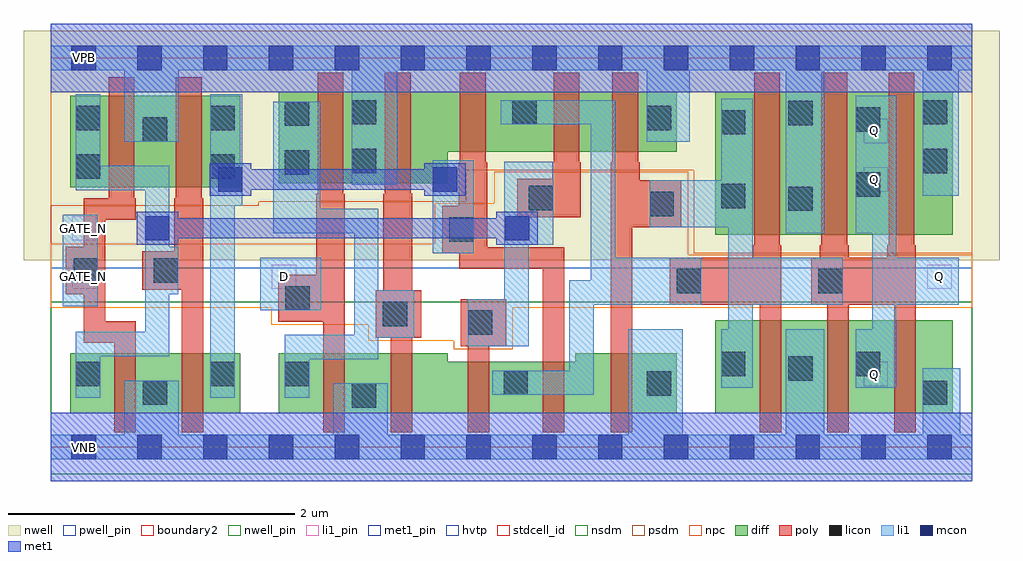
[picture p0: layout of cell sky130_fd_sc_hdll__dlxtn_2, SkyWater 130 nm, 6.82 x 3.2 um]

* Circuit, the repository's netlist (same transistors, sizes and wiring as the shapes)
* Copyright 2020 The SkyWater PDK Authors
*
* Licensed under the Apache License, Version 2.0 (the "License");
* you may not use this file except in compliance with the License.
* You may obtain a copy of the License at
*
*     https://www.apache.org/licenses/LICENSE-2.0
*
* Unless required by applicable law or agreed to in writing, software
* distributed under the License is distributed on an "AS IS" BASIS,
* WITHOUT WARRANTIES OR CONDITIONS OF ANY KIND, either express or implied.
* See the License for the specific language governing permissions and
* limitations under the License.
*
* SPDX-License-Identifier: Apache-2.0

.SUBCKT sky130_fd_sc_hdll__dlxtn_2 D GATE_N VGND VNB VPB VPWR Q
*.PININFO D:I GATE_N:I VGND:I VNB:I VPB:I VPWR:I Q:O
MI635 clkneg clkpos VPWR VPB sky130_fd_pr__pfet_01v8_hvt m=1 w=0.64U l=0.18U mult=1
+ sa=0.265 sb=0.265 sd=0.28 area=0.063 perim=1.14
MI17 M0 clkneg net51 VPB sky130_fd_pr__pfet_01v8_hvt m=1 w=0.42U l=0.18U mult=1
+ sa=0.265 sb=0.265 sd=0.28 area=0.063 perim=1.14
MI650 Q m1 VPWR VPB sky130_fd_pr__pfet_01v8_hvt m=2 w=1.0U l=0.18U mult=1 sa=0.265
+ sb=0.265 sd=0.28 area=0.063 perim=1.14
MI633 clkpos GATE_N VPWR VPB sky130_fd_pr__pfet_01v8_hvt m=1 w=0.64U l=0.18U mult=1
+ sa=0.265 sb=0.265 sd=0.28 area=0.063 perim=1.14
MI18 net51 db VPWR VPB sky130_fd_pr__pfet_01v8_hvt m=1 w=0.64U l=0.18U mult=1 sa=0.265
+ sb=0.265 sd=0.28 area=0.063 perim=1.14
MI653 net47 m1 VPWR VPB sky130_fd_pr__pfet_01v8_hvt m=1 w=0.42U l=0.18U mult=1
+ sa=0.265 sb=0.265 sd=0.28 area=0.063 perim=1.14
MI651 M0 clkpos net47 VPB sky130_fd_pr__pfet_01v8_hvt m=1 w=0.42U l=0.18U mult=1
+ sa=0.265 sb=0.265 sd=0.28 area=0.063 perim=1.14
MI655 m1 M0 VPWR VPB sky130_fd_pr__pfet_01v8_hvt m=1 w=1.0U l=0.18U mult=1 sa=0.265
+ sb=0.265 sd=0.28 area=0.063 perim=1.14
MI638 db D VPWR VPB sky130_fd_pr__pfet_01v8_hvt m=1 w=0.64U l=0.18U mult=1 sa=0.265
+ sb=0.265 sd=0.28 area=0.063 perim=1.14
MI634 clkpos GATE_N VGND VNB sky130_fd_pr__nfet_01v8 m=1 w=0.42U l=0.15U mult=1
+ sa=0.265 sb=0.265 sd=0.28 area=0.063 perim=1.14
MI649 Q m1 VGND VNB sky130_fd_pr__nfet_01v8 m=2 w=0.65U l=0.15U mult=1 sa=0.265
+ sb=0.265 sd=0.28 area=0.063 perim=1.14
MI652 M0 clkneg net94 VNB sky130_fd_pr__nfet_01v8 m=1 w=0.36U l=0.15U mult=1 sa=0.265
+ sb=0.265 sd=0.28 area=0.063 perim=1.14
MI654 net94 m1 VGND VNB sky130_fd_pr__nfet_01v8 m=1 w=0.42U l=0.15U mult=1 sa=0.265
+ sb=0.265 sd=0.28 area=0.063 perim=1.14
MI656 m1 M0 VGND VNB sky130_fd_pr__nfet_01v8 m=1 w=0.65U l=0.15U mult=1 sa=0.265
+ sb=0.265 sd=0.28 area=0.063 perim=1.14
MI636 clkneg clkpos VGND VNB sky130_fd_pr__nfet_01v8 m=1 w=0.42U l=0.15U mult=1
+ sa=0.265 sb=0.265 sd=0.28 area=0.063 perim=1.14
MI637 db D VGND VNB sky130_fd_pr__nfet_01v8 m=1 w=0.42U l=0.15U mult=1 sa=0.265
+ sb=0.265 sd=0.28 area=0.063 perim=1.14
MI19 M0 clkpos net74 VNB sky130_fd_pr__nfet_01v8 m=1 w=0.36U l=0.15U mult=1 sa=0.265
+ sb=0.265 sd=0.28 area=0.063 perim=1.14
MI20 net74 db VGND VNB sky130_fd_pr__nfet_01v8 m=1 w=0.42U l=0.15U mult=1 sa=0.265
+ sb=0.265 sd=0.28 area=0.063 perim=1.14
.ENDS sky130_fd_sc_hdll__dlxtn_2

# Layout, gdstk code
import gdstk
lib = gdstk.Library(unit=1e-6, precision=1e-09)
def R(c, l, rs):  # rectangles x0, y0, x1, y1
    for r in rs: c.add(gdstk.rectangle(r[:2], r[2:], *l))
def A(c, l, x, y, w, h, nx, ny, dx, dy):  # array of equal rectangles
    R(c, l, [(x+i*dx, y+j*dy, x+i*dx+w, y+j*dy+h) for i in range(nx) for j in range(ny)])
def P(c, l, *ps):  # polygons
    for p in ps: c.add(gdstk.Polygon(p, *l))
nwell_pin = (64, 16)
nwell = (64, 20)
diff = (65, 20)
poly = (66, 20)
licon = (66, 44)
li1_pin = (67, 16)
li1 = (67, 20)
mcon = (67, 44)
met1_pin = (68, 16)
met1 = (68, 20)
hvtp = (78, 44)
stdcell_id = (81, 4)
nsdm = (93, 44)
psdm = (94, 20)
npc = (95, 20)
pwell_pin = (122, 16)
boundary2 = (236, 0)

sky130_fd_sc_hdll__dlxtn = lib.new_cell('sky130_fd_sc_hdll__dlxtn_2')
R(sky130_fd_sc_hdll__dlxtn, nwell_pin, [(0.15,2.635,0.32,2.805)])
R(sky130_fd_sc_hdll__dlxtn, nwell, [(-0.19,1.305,6.63,2.91)])
R(sky130_fd_sc_hdll__dlxtn, diff, [(0.135,0.235,1.325,0.655), (4.645,0.235,6.305,0.885), (4.645,1.485,6.305,2.485), (0.135,1.815,1.325,2.455)])
P(sky130_fd_sc_hdll__dlxtn, diff, [(4.375,0.655),(3.665,0.655),(3.665,0.595),(2.775,0.595),(2.775,0.655),(1.595,0.655),(1.595,0.235),(4.375,0.235)],
  [(4.375,2.485),(1.595,2.485),(1.595,1.845),(2.775,1.845),(2.775,2.065),(4.375,2.065)])
P(sky130_fd_sc_hdll__dlxtn, poly, [(0.595,1.74),(0.585,1.74),(0.585,2.585),(0.405,2.585),(0.405,1.74),(0.23,1.74),(0.23,1.4),(0.105,1.4),(0.105,1.07),(0.23,1.07),(0.23,0.73),(0.445,0.73),(0.445,0.105),(0.595,0.105),(0.595,0.88),(0.38,0.88),(0.38,1.59),(0.595,1.59)],
  [(1.065,1.74),(1.055,1.74),(1.055,2.585),(0.875,2.585),(0.875,1.74),(0.865,1.74),(0.865,1.37),(0.64,1.37),(0.64,1.1),(0.915,1.1),(0.915,0.105),(1.065,0.105)],
  [(2.055,1.77),(2.045,1.77),(2.045,2.615),(1.865,2.615),(1.865,1.77),(1.855,1.77),(1.855,1.205),(1.59,1.205),(1.59,0.875),(1.905,0.875),(1.905,0.105),(2.055,0.105)],
  [(2.59,1.095),(2.525,1.095),(2.525,1.77),(2.515,1.77),(2.515,2.615),(2.335,2.615),(2.335,1.77),(2.325,1.77),(2.325,1.095),(2.27,1.095),(2.27,0.765),(2.375,0.765),(2.375,0.105),(2.525,0.105),(2.525,0.765),(2.59,0.765)],
  [(3.185,1.035),(2.865,1.035),(2.865,0.705),(2.915,0.705),(2.915,0.105),(3.065,0.105),(3.065,0.705),(3.185,0.705)],
  [(3.59,1.395),(3.05,1.395),(3.05,1.99),(3.04,1.99),(3.04,2.615),(2.86,2.615),(2.86,1.99),(2.85,1.99),(2.85,1.685),(2.735,1.685),(2.735,1.355),(2.855,1.355),(2.855,1.245),(3.44,1.245),(3.44,0.105),(3.59,0.105)],
  [(3.705,1.99),(3.695,1.99),(3.695,2.615),(3.515,2.615),(3.515,1.99),(3.505,1.99),(3.505,1.875),(3.26,1.875),(3.26,1.605),(3.705,1.605)],
  [(4.405,1.865),(4.115,1.865),(4.115,1.99),(4.105,1.99),(4.105,2.615),(3.925,2.615),(3.925,1.99),(3.915,1.99),(3.915,0.105),(4.065,0.105),(4.065,1.535),(4.405,1.535)],
  [(5.105,1.41),(5.095,1.41),(5.095,2.615),(4.915,2.615),(4.915,1.41),(4.905,1.41),(4.905,1.325),(4.325,1.325),(4.325,0.995),(4.955,0.995),(4.955,0.105),(5.105,0.105)],
  [(6.045,1.41),(6.035,1.41),(6.035,2.615),(5.855,2.615),(5.855,1.41),(5.845,1.41),(5.845,1.325),(5.575,1.325),(5.575,1.41),(5.565,1.41),(5.565,2.615),(5.385,2.615),(5.385,1.41),(5.375,1.41),(5.375,1.325),(5.315,1.325),(5.315,0.995),(5.425,0.995),(5.425,0.105),(5.575,0.105),(5.575,0.995),(5.895,0.995),(5.895,0.105),(6.045,0.105)])
R(sky130_fd_sc_hdll__dlxtn, licon, [(2.105,0.275,2.275,0.445), (0.645,0.295,0.815,0.465), (6.095,0.295,6.265,0.465), (4.165,0.36,4.335,0.53), (3.165,0.365,3.335,0.535), (0.175,0.425,0.345,0.595), (1.115,0.425,1.285,0.595), (1.635,0.425,1.805,0.595), (5.155,0.465,5.325,0.635), (4.685,0.495,4.855,0.665), (5.625,0.495,5.795,0.665), (2.915,0.785,3.085,0.955), (2.32,0.845,2.49,1.015), (1.64,0.955,1.81,1.125), (4.375,1.075,4.545,1.245), (5.365,1.075,5.535,1.245), (0.16,1.15,0.33,1.32), (0.72,1.15,0.89,1.32), (2.785,1.435,2.955,1.605), (4.185,1.615,4.355,1.785), (5.155,1.65,5.325,1.82), (3.34,1.655,3.51,1.825), (4.685,1.67,4.855,1.84), (5.625,1.75,5.795,1.92), (0.175,1.875,0.345,2.045), (1.115,1.875,1.285,2.045), (1.635,1.905,1.805,2.075), (2.105,1.915,2.275,2.085), (6.095,1.915,6.265,2.085), (0.645,2.135,0.815,2.305), (4.685,2.185,4.855,2.355), (5.625,2.205,5.795,2.375), (0.175,2.215,0.345,2.385), (1.115,2.215,1.285,2.385), (4.165,2.215,4.335,2.385), (1.635,2.245,1.805,2.415), (5.155,2.25,5.325,2.42), (2.105,2.255,2.275,2.425), (3.225,2.255,3.395,2.425), (6.095,2.255,6.265,2.425)])
R(sky130_fd_sc_hdll__dlxtn, li1_pin, [(5.68,0.425,5.85,0.595), (0.15,1.105,0.32,1.275), (1.545,1.105,1.715,1.275), (6.125,1.105,6.295,1.275), (0.15,1.445,0.32,1.615), (5.68,1.785,5.85,1.955), (5.68,2.125,5.85,2.295)])
R(sky130_fd_sc_hdll__dlxtn, li1, [(1.465,0.955,1.89,1.325), (0.085,0.985,0.33,1.625), (2.67,1.355,2.955,2.005)])
P(sky130_fd_sc_hdll__dlxtn, li1, [(6.345,1.325),(5.91,1.325),(5.91,2.455),(5.625,2.455),(5.625,1.495),(5.74,1.495),(5.74,0.825),(5.625,0.825),(5.625,0.415),(5.91,0.415),(5.91,0.995),(6.345,0.995)],
  [(6.44,0.085),(6.355,0.085),(6.355,0.55),(6.095,0.55),(6.095,0.085),(5.405,0.085),(5.405,0.825),(5.135,0.825),(5.135,0.085),(4.415,0.085),(4.415,0.825),(4.035,0.825),(4.035,0.085),(2.355,0.085),(2.355,0.445),(1.975,0.445),(1.975,0.085),(0.895,0.085),(0.895,0.465),(0.515,0.465),(0.515,0.085),(0,0.085),(0,-0.085),(6.44,-0.085)],
  [(6.44,2.805),(0,2.805),(0,2.635),(0.515,2.635),(0.515,2.135),(0.895,2.135),(0.895,2.635),(2.105,2.635),(2.105,1.835),(2.42,1.835),(2.42,2.635),(4.165,2.635),(4.165,2.135),(4.465,2.135),(4.465,2.635),(5.135,2.635),(5.135,1.495),(5.405,1.495),(5.405,2.635),(6.095,2.635),(6.095,1.755),(6.345,1.755),(6.345,2.635),(6.44,2.635)],
  [(5.535,1.325),(4.905,1.325),(4.905,2.435),(4.685,2.435),(4.685,1.865),(4.185,1.865),(4.185,1.535),(4.735,1.535),(4.735,0.825),(4.685,0.825),(4.685,0.415),(4.905,0.415),(4.905,0.995),(5.535,0.995)],
  [(4.545,1.325),(3.945,1.325),(3.945,2.425),(3.145,2.425),(3.145,2.255),(3.775,2.255),(3.775,1.165),(3.625,1.165),(3.625,0.535),(3.085,0.535),(3.085,0.365),(3.795,0.365),(3.795,0.995),(4.545,0.995)],
  [(3.51,1.995),(3.17,1.995),(3.17,1.035),(2.915,1.035),(2.915,0.705),(3.34,0.705),(3.34,1.415),(3.51,1.415)],
  [(2.54,1.095),(2.29,1.095),(2.29,1.665),(1.885,1.665),(1.885,2.415),(1.555,2.415),(1.555,1.495),(2.12,1.495),(2.12,0.785),(1.635,0.785),(1.635,0.345),(1.805,0.345),(1.805,0.615),(2.29,0.615),(2.29,0.765),(2.54,0.765)],
  [(0.89,1.4),(0.83,1.4),(0.83,1.965),(0.345,1.965),(0.345,2.465),(0.175,2.465),(0.175,1.795),(0.66,1.795),(0.66,0.805),(0.175,0.805),(0.175,0.345),(0.345,0.345),(0.345,0.635),(0.83,0.635),(0.83,1.07),(0.89,1.07)],
  [(1.34,2.465),(1.115,2.465),(1.115,0.345),(1.285,0.345),(1.285,1.685),(1.34,1.685)])
A(sky130_fd_sc_hdll__dlxtn, mcon, 0.145, -0.085, 0.17, 0.17, 14, 2, 0.46, 2.72)
R(sky130_fd_sc_hdll__dlxtn, mcon, [(0.66,1.445,0.83,1.615), (3.175,1.445,3.345,1.615), (1.17,1.785,1.34,1.955), (2.67,1.785,2.84,1.955)])
R(sky130_fd_sc_hdll__dlxtn, met1_pin, [(0.15,-0.085,0.32,0.085), (0.15,2.635,0.32,2.805)])
R(sky130_fd_sc_hdll__dlxtn, met1, [(0,-0.24,6.44,0.24), (0,2.48,6.44,2.96)])
P(sky130_fd_sc_hdll__dlxtn, met1, [(3.405,1.645),(3.115,1.645),(3.115,1.6),(0.89,1.6),(0.89,1.645),(0.6,1.645),(0.6,1.415),(0.89,1.415),(0.89,1.46),(3.115,1.46),(3.115,1.415),(3.405,1.415)],
  [(2.9,1.985),(2.61,1.985),(2.61,1.94),(1.4,1.94),(1.4,1.985),(1.11,1.985),(1.11,1.755),(1.4,1.755),(1.4,1.8),(2.61,1.8),(2.61,1.755),(2.9,1.755)])
R(sky130_fd_sc_hdll__dlxtn, hvtp, [(0,1.25,6.44,2.72)])
R(sky130_fd_sc_hdll__dlxtn, stdcell_id, [(0,0,6.44,2.72)])
R(sky130_fd_sc_hdll__dlxtn, nsdm, [(0,-0.19,6.44,1.015)])
P(sky130_fd_sc_hdll__dlxtn, psdm, [(6.44,2.91),(0,2.91),(0,1.685),(1.455,1.685),(1.455,1.715),(2.905,1.715),(2.905,1.935),(4.495,1.935),(4.495,1.355),(6.44,1.355)])
P(sky130_fd_sc_hdll__dlxtn, npc, [(6.44,1.345),(4.455,1.345),(4.455,1.925),(3.1,1.925),(3.1,1.705),(2.685,1.705),(2.685,1.42),(0,1.42),(0,0.975),(1.54,0.975),(1.54,0.855),(2.22,0.855),(2.22,0.745),(2.815,0.745),(2.815,0.685),(3.23,0.685),(3.23,0.975),(6.44,0.975)])
R(sky130_fd_sc_hdll__dlxtn, pwell_pin, [(0.15,-0.085,0.32,0.085)])
R(sky130_fd_sc_hdll__dlxtn, boundary2, [(0,0,6.44,2.72)])
sky130_fd_sc_hdll__dlxtn.add(gdstk.Label('D', (1.635,1.19), layer=67, texttype=5))
sky130_fd_sc_hdll__dlxtn.add(gdstk.Label('GATE_N', (0.23,1.19), layer=67, texttype=5))
sky130_fd_sc_hdll__dlxtn.add(gdstk.Label('Q', (5.76,1.87), layer=67, texttype=5))
sky130_fd_sc_hdll__dlxtn.add(gdstk.Label('GATE_N', (0.23,1.53), layer=67, texttype=5))
sky130_fd_sc_hdll__dlxtn.add(gdstk.Label('Q', (5.76,2.21), layer=67, texttype=5))
sky130_fd_sc_hdll__dlxtn.add(gdstk.Label('Q', (5.755,0.51), layer=67, texttype=5))
sky130_fd_sc_hdll__dlxtn.add(gdstk.Label('Q', (6.21,1.19), layer=67, texttype=5))
sky130_fd_sc_hdll__dlxtn.add(gdstk.Label('VNB', (0.235,0), layer=64, texttype=59))
sky130_fd_sc_hdll__dlxtn.add(gdstk.Label('VPB', (0.235,2.72), layer=64, texttype=5))
sky130_fd_sc_hdll__dlxtn.add(gdstk.Label('VPWR', (0.23,2.72), layer=68, texttype=5))
sky130_fd_sc_hdll__dlxtn.add(gdstk.Label('VGND', (0.23,0), layer=68, texttype=5))
sky130_fd_sc_hdll__dlxtn.add(gdstk.Label('dlxtn_2', (0,0), layer=83, texttype=44))

lib.write_gds('sky130_fd_sc_hdll__dlxtn_2.gds')
